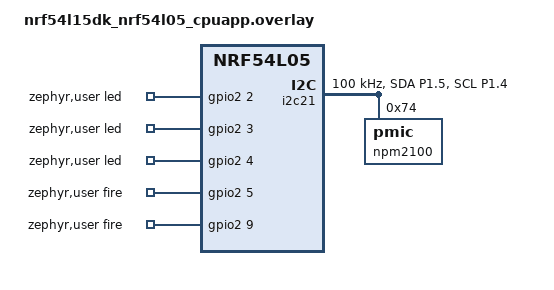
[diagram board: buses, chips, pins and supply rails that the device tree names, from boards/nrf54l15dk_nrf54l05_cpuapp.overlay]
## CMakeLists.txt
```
cmake_minimum_required(VERSION 3.20.0)

find_package(Zephyr REQUIRED HINTS $ENV{ZEPHYR_BASE})
project(led_test LANGUAGES C CXX)

target_sources(app PRIVATE
  src/main.cpp
)
```

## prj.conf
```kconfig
# LED and fire-pin walk test for the CLASS MFS_1 hardware (first full revision).
#
# Deliberately minimal: GPIO and logging only. No BLE, no I2C, no settings.

CONFIG_CPP=y
CONFIG_STD_CPP20=y

CONFIG_GPIO=y

# The DK console UART (uart20) sits on P1.04 / P1.05, which are SCL_1 / SDA_1 to
# the nPM2100 on this board. Keep the UART driver out of the image entirely.
CONFIG_SERIAL=n
CONFIG_CONSOLE=n
CONFIG_UART_CONSOLE=n

# RTT logging (house style).
CONFIG_LOG=y
CONFIG_LOG_MODE_IMMEDIATE=y
CONFIG_USE_SEGGER_RTT=y
CONFIG_LOG_BACKEND_RTT=y
CONFIG_LOG_BACKEND_UART=n

# The nPM2100 boot monitor power-cycles the SoC a few seconds after boot unless the
# host stops it over I2C (see ../../src/app.cpp App::initPmic()).
CONFIG_I2C=y

# Log why the SoC last reset, so a boot-monitor or watchdog reset is visible.
CONFIG_HWINFO=y
```

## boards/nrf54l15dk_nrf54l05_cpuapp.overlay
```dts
/*
 * CLASS MFS_1 hardware, first full revision — LED and fire-pin walk test.
 *
 * Board pin map (this revision):
 *
 *   LED1 P2.02   LED2 P2.03   LED3 P2.04
 *   FIRE_1 P2.05   FIRE_2 P2.09   (LEDs fitted on this bench unit)
 *   ANTI_TAMP P1.02
 *   ADXL_INT_1 P1.03   ADXL_INT_2 P1.13   OPT3001_INT P1.12
 *   I2C 1 (nPM2100):            SCL P1.04, SDA P1.05
 *   I2C 2 (ADXL367 + OPT3001):  SCL P1.08, SDA P1.07
 *
 *   nPM2100: GPIO_0 P1.06, GPIO_1 P2.02 (?), RESET P2.00
 *
 * The five outputs are walked. I2C 1 is used once at boot to stop the nPM2100
 * boot monitor, which otherwise power-cycles the SoC a few seconds after boot.
 */

&pinctrl {
    i2c21_default: i2c21_default {
        group1 {
            psels = <NRF_PSEL(TWIM_SDA, 1, 5)>,
                    <NRF_PSEL(TWIM_SCL, 1, 4)>;
            bias-pull-up;
        };
    };

    i2c21_sleep: i2c21_sleep {
        group1 {
            psels = <NRF_PSEL(TWIM_SDA, 1, 5)>,
                    <NRF_PSEL(TWIM_SCL, 1, 4)>;
            low-power-enable;
        };
    };
};

&i2c21 {
    status = "okay";
    pinctrl-0 = <&i2c21_default>;
    pinctrl-1 = <&i2c21_sleep>;
    pinctrl-names = "default", "sleep";
    clock-frequency = <I2C_BITRATE_STANDARD>;

    npm2100: pmic@74 {
        reg = <0x74>;
    };
};

/* The DK files claim P2.01-P2.05 for the MX25R64 external flash on spi00
 * (P2.05 is its chip select = FIRE_1). That part is not fitted here. */
&mx25r64 {
    status = "disabled";
};

&spi00 {
    status = "disabled";
};

/* The DK console UART20 uses P1.04 / P1.05 = the nPM2100 I2C bus here. */
&uart20 {
    status = "disabled";
};

/ {
    zephyr,user {
        led-gpios = <&gpio2 2 GPIO_ACTIVE_HIGH>,
                    <&gpio2 3 GPIO_ACTIVE_HIGH>,
                    <&gpio2 4 GPIO_ACTIVE_HIGH>;
        fire-gpios = <&gpio2 5 GPIO_ACTIVE_HIGH>,
                     <&gpio2 9 GPIO_ACTIVE_HIGH>;
    };
};
```

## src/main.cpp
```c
#include <zephyr/drivers/gpio.h>
#include <zephyr/drivers/hwinfo.h>
#include <zephyr/drivers/i2c.h>
#include <zephyr/kernel.h>
#include <zephyr/logging/log.h>

LOG_MODULE_REGISTER(led_test, LOG_LEVEL_INF);

namespace alc {

namespace {

struct TestPin {
  gpio_dt_spec spec;
  const char* name;
};

#define M_USER_NODE DT_PATH(zephyr_user)

// Walk order: the three LEDs, then FIRE_1 and FIRE_2. Only one pin is ever asserted at a time.
const TestPin s_pins[] {
  { GPIO_DT_SPEC_GET_BY_IDX(M_USER_NODE, led_gpios, 0), "LED1   (P2.02)" },
  { GPIO_DT_SPEC_GET_BY_IDX(M_USER_NODE, led_gpios, 1), "LED2   (P2.03)" },
  { GPIO_DT_SPEC_GET_BY_IDX(M_USER_NODE, led_gpios, 2), "LED3   (P2.04)" },
  { GPIO_DT_SPEC_GET_BY_IDX(M_USER_NODE, fire_gpios, 0), "FIRE_1 (P2.05)" },
  { GPIO_DT_SPEC_GET_BY_IDX(M_USER_NODE, fire_gpios, 1), "FIRE_2 (P2.09)" },
};

const i2c_dt_spec s_pmic = I2C_DT_SPEC_GET(DT_NODELABEL(npm2100));

// nPM2100 TIMER.TASKS_STOP (datasheet section 7.2.6) - the boot monitor is the TIMER block.
constexpr uint8_t M_REG_TIMER_TASKS_STOP { 0xB1 };
constexpr uint8_t M_TASK_TRIGGER { 0x01 };

constexpr int32_t M_ON_TIME_MS { 1000 };
constexpr int32_t M_PASS_GAP_MS { 1000 };

// Stops the nPM2100 boot monitor. Without this the PMIC power-cycles the SoC a few seconds after every boot.
int stopBootMonitor()
{
  if (!i2c_is_ready_dt(&s_pmic)) {
    LOG_ERR("nPM2100 I2C bus not ready!");
    return -ENODEV;
  }

  int result { i2c_reg_write_byte_dt(&s_pmic, M_REG_TIMER_TASKS_STOP, M_TASK_TRIGGER) };
  if (result < 0) {
    LOG_ERR("Failed to stop nPM2100 boot monitor: %d!", result);
    return result;
  }

  LOG_INF("nPM2100 boot monitor stopped.");
  return 0;
}

void logResetCause()
{
  uint32_t cause { 0 };

  int result { hwinfo_get_reset_cause(&cause) };
  if (result < 0) {
    LOG_WRN("Reset cause unavailable: %d", result);
    return;
  }

  LOG_INF("Reset cause 0x%08x%s%s%s%s%s", cause, (cause & RESET_PIN) ? " PIN" : "", (cause & RESET_SOFTWARE) ? " SOFTWARE" : "",
          (cause & RESET_POR) ? " POWER-ON" : "", (cause & RESET_WATCHDOG) ? " WATCHDOG" : "", (cause & RESET_DEBUG) ? " DEBUG" : "");
  hwinfo_clear_reset_cause();
}

int configurePins()
{
  for (const TestPin& pin : s_pins) {
    if (!gpio_is_ready_dt(&pin.spec)) {
      LOG_ERR("GPIO port for %s not ready!", pin.name);
      return -ENODEV;
    }

    int result { gpio_pin_configure_dt(&pin.spec, GPIO_OUTPUT_INACTIVE) };
    if (result < 0) {
      LOG_ERR("Failed to configure %s: %d!", pin.name, result);
      return result;
    }
  }

  return 0;
}

int run()
{
  uint32_t pass { 0 };

  LOG_INF("LED test boot.");
  logResetCause();

  // Carry on even if this fails: the LED walk is still useful, and the log will show the resets.
  stopBootMonitor();

  int result { configurePins() };
  if (result < 0) { return result; }

  LOG_INF("LED test started: %u pins, %d ms each.", static_cast<unsigned>(ARRAY_SIZE(s_pins)), M_ON_TIME_MS);

  while (true) {
    LOG_INF("--- Pass %u ---", pass);

    for (const TestPin& pin : s_pins) {
      result = gpio_pin_set_dt(&pin.spec, 1);
      LOG_INF("%s ON  (set result %d)", pin.name, result);
      k_msleep(M_ON_TIME_MS);

      result = gpio_pin_set_dt(&pin.spec, 0);
      LOG_INF("%s OFF (set result %d)", pin.name, result);
    }

    pass++;
    k_msleep(M_PASS_GAP_MS);
  }

  return 0;
}

} // namespace

} // namespace alc

int main()
{
  return alc::run();
}
```
